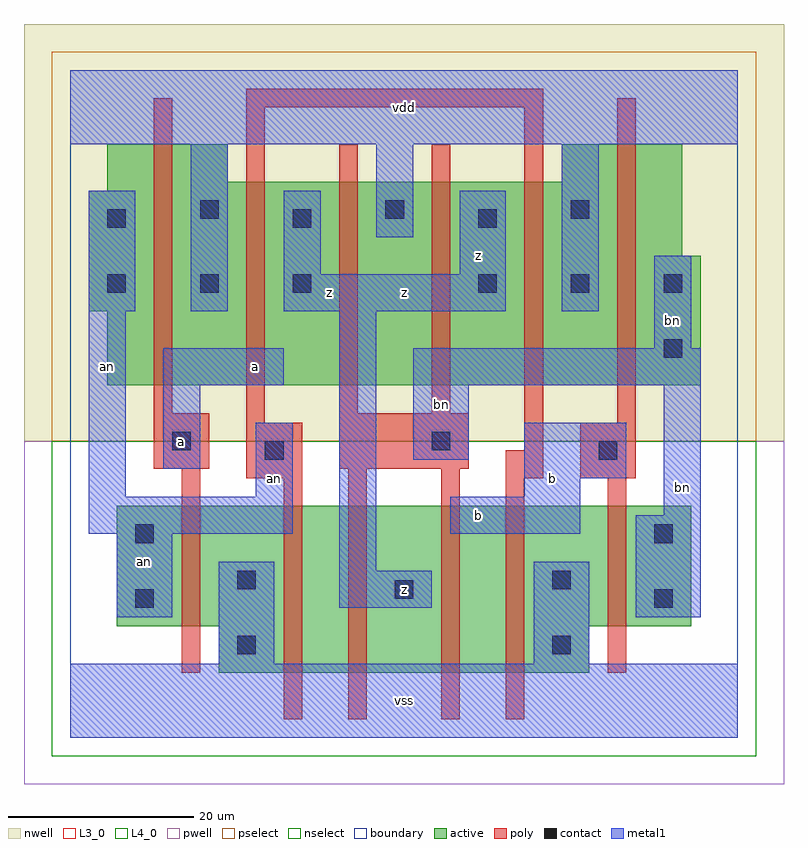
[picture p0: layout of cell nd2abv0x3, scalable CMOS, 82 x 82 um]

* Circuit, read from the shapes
.subckt nd2abv0x3 a an b bn vdd vss z
M1 vss a an VSUBS nfet w=13u l=2u
M2 n1 an vss VSUBS nfet w=18u l=2u
M3 z bn n1 VSUBS nfet w=18u l=2u
M4 n2 bn z VSUBS nfet w=18u l=2u
M5 vss an n2 VSUBS nfet w=18u l=2u
M6 bn b vss VSUBS nfet w=13u l=2u
M7 vdd a an n3 pfet w=26u l=2u
M8 z an vdd n3 pfet w=22u l=2u m=2
M9 vdd bn z n3 pfet w=22u l=2u m=2
M10 bn b vdd n3 pfet w=26u l=2u
.ends

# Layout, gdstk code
import gdstk
lib = gdstk.Library(unit=1e-6, precision=1e-09)
def R(c, l, rs):  # rectangles x0, y0, x1, y1
    for r in rs: c.add(gdstk.rectangle(r[:2], r[2:], *l))
def A(c, l, x, y, w, h, nx, ny, dx, dy):  # array of equal rectangles
    R(c, l, [(x+i*dx, y+j*dy, x+i*dx+w, y+j*dy+h) for i in range(nx) for j in range(ny)])
L3_0 = (3, 0)
L4_0 = (4, 0)
contact = (25, 0)
pwell = (41, 0)
nwell = (42, 0)
active = (43, 0)
pselect = (44, 0)
nselect = (45, 0)
poly = (46, 0)
metal1 = (49, 0)
boundary = (63, 0)

nd2abv0x3 = lib.new_cell('nd2abv0x3')
R(nd2abv0x3, L3_0, [(16,7,56,12), (5,12,67,25)])
R(nd2abv0x3, L4_0, [(4,38,68,46), (2,46,68,52), (2,52,66,59), (4,59,66,60), (4,60,17,64), (53,60,66,64)])
A(nd2abv0x3, contact, 4, 48, 2, 2, 3, 1, 10, 0)
A(nd2abv0x3, contact, 44, 48, 2, 2, 3, 1, 10, 0)
A(nd2abv0x3, contact, 4, 55, 2, 2, 3, 1, 20, 0)
A(nd2abv0x3, contact, 14, 56, 2, 2, 3, 1, 20, 0)
R(nd2abv0x3, contact, [(18,9,20,11), (52,9,54,11), (7,14,9,16), (63,14,65,16), (35,15,37,17), (18,16,20,18), (52,16,54,18), (7,21,9,23), (63,21,65,23), (21,30,23,32), (57,30,59,32), (11,31,13,33), (39,31,41,33), (64,41,66,43)])
R(nd2abv0x3, pwell, [(-5,-5,77,32)])
R(nd2abv0x3, nwell, [(-5,32,77,77)])
R(nd2abv0x3, active, [(16,7,56,12), (5,12,67,25), (4,38,68,46), (2,46,68,52), (2,52,66,59), (4,59,66,60), (4,60,17,64), (53,60,66,64)])
R(nd2abv0x3, pselect, [(-2,32,74,74)])
R(nd2abv0x3, nselect, [(-2,-2,74,32)])
R(nd2abv0x3, poly, [(23,2,25,28), (30,2,32,29), (40,2,42,29), (47,2,49,28), (12,7,14,29), (58,7,60,28), (19,28,25,34), (47,28,51,31), (55,28,61,34), (9,29,15,35), (29,29,43,35), (49,31,51,68), (19,34,21,68), (59,34,61,69), (9,35,11,69), (29,35,31,64), (39,35,41,64), (19,68,51,70)])
R(nd2abv0x3, metal1, [(0,0,72,8), (16,8,22,19), (50,8,56,19), (5,13,11,22), (61,13,68,24), (29,14,39,18), (29,18,33,46), (2,22,24,26), (41,22,55,26), (64,24,68,38), (2,26,6,46), (20,26,24,34), (49,26,55,28), (49,28,60,34), (10,29,14,38), (37,30,43,38), (10,38,23,42), (37,38,68,42), (63,42,67,52), (2,46,7,59), (13,46,17,64), (23,46,47,50), (53,46,57,64), (23,50,27,59), (42,50,47,59), (33,54,37,64), (0,64,72,72)])
R(nd2abv0x3, boundary, [(0,0,72,72)])
nd2abv0x3.add(gdstk.Label('an', (8,19), layer=49, texttype=0))
nd2abv0x3.add(gdstk.Label('an', (4,40), layer=49, texttype=0))
nd2abv0x3.add(gdstk.Label('an', (22,28), layer=49, texttype=0))
nd2abv0x3.add(gdstk.Label('bn', (40,36), layer=49, texttype=0))
nd2abv0x3.add(gdstk.Label('bn', (65,45), layer=49, texttype=0))
nd2abv0x3.add(gdstk.Label('bn', (66,27), layer=49, texttype=0))
nd2abv0x3.add(gdstk.Label('a', (12,32), layer=49, texttype=0))
nd2abv0x3.add(gdstk.Label('a', (20,40), layer=49, texttype=0))
nd2abv0x3.add(gdstk.Label('z', (28,48), layer=49, texttype=0))
nd2abv0x3.add(gdstk.Label('vss', (36,4), layer=49, texttype=0))
nd2abv0x3.add(gdstk.Label('z', (36,16), layer=49, texttype=0))
nd2abv0x3.add(gdstk.Label('b', (44,24), layer=49, texttype=0))
nd2abv0x3.add(gdstk.Label('b', (52,28), layer=49, texttype=0))
nd2abv0x3.add(gdstk.Label('z', (36,48), layer=49, texttype=0))
nd2abv0x3.add(gdstk.Label('z', (44,52), layer=49, texttype=0))
nd2abv0x3.add(gdstk.Label('vdd', (36,68), layer=49, texttype=0))

lib.write_gds('nd2abv0x3.gds')
